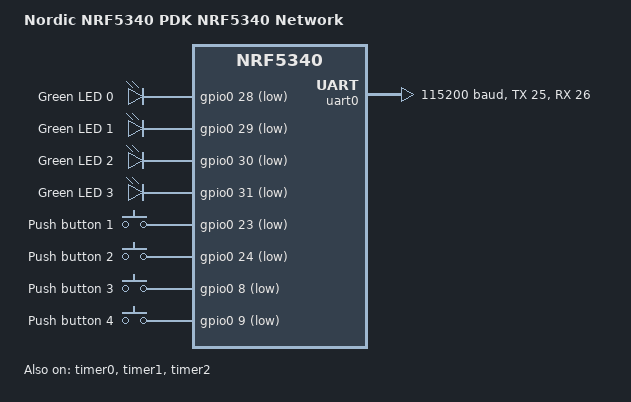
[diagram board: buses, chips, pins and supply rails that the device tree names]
/*
 * Copyright (c) 2019-2020 Nordic Semiconductor ASA
 *
 * SPDX-License-Identifier: Apache-2.0
 */

/dts-v1/;
#include <nordic/nrf5340_cpunet_qkaa.dtsi>

/ {
	model = "Nordic NRF5340 PDK NRF5340 Network";
	compatible = "nordic,nrf5340-pdk-nrf5340-cpunet";

	chosen {
		zephyr,console = &uart0;
		zephyr,shell-uart = &uart0;
		zephyr,uart-mcumgr = &uart0;
		zephyr,bt-mon-uart = &uart0;
		zephyr,bt-c2h-uart = &uart0;
		zephyr,sram = &sram1;
		zephyr,flash = &flash1;
		zephyr,code-partition = &slot0_partition;
	};

	leds {
		compatible = "gpio-leds";
		led0: led_0 {
			gpios = <&gpio0 28 GPIO_ACTIVE_LOW>;
			label = "Green LED 0";
		};
		led1: led_1 {
			gpios = <&gpio0 29 GPIO_ACTIVE_LOW>;
			label = "Green LED 1";
		};
		led2: led_2 {
			gpios = <&gpio0 30 GPIO_ACTIVE_LOW>;
			label = "Green LED 2";
		};
		led3: led_3 {
			gpios = <&gpio0 31 GPIO_ACTIVE_LOW>;
			label = "Green LED 3";
		};
	};

	buttons {
		compatible = "gpio-keys";
		button0: button_0 {
			gpios = <&gpio0 23 (GPIO_PULL_UP | GPIO_ACTIVE_LOW)>;
			label = "Push button 1";
		};
		button1: button_1 {
			gpios = <&gpio0 24 (GPIO_PULL_UP | GPIO_ACTIVE_LOW)>;
			label = "Push button 2";
		};
		button2: button_2 {
			gpios = <&gpio0 8 (GPIO_PULL_UP | GPIO_ACTIVE_LOW)>;
			label = "Push button 3";
		};
		button3: button_3 {
			gpios = <&gpio0 9 (GPIO_PULL_UP | GPIO_ACTIVE_LOW)>;
			label = "Push button 4";
		};
	};

	/* These aliases are provided for compatibility with samples */
	aliases {
		led0 = &led0;
		led1 = &led1;
		led2 = &led2;
		led3 = &led3;
		sw0 = &button0;
		sw1 = &button1;
		sw2 = &button2;
		sw3 = &button3;
	};
};

&gpiote {
	status = "okay";
};

&gpio0 {
	status = "okay";
};

&gpio1 {
	status = "okay";
};

&uart0 {
	status = "okay";
	current-speed = <115200>;
	tx-pin = <25>;
	rx-pin = <26>;
	rts-pin = <10>;
	cts-pin = <12>;
};

&timer0 {
	status = "okay";
};

&timer1 {
	status = "okay";
};

&timer2 {
	status = "okay";
};

&flash1 {
	/*
	 * For more information, see:
	 * https://docs.zephyrproject.org/latest/guides/dts/legacy-macros.html#legacy-flash-partitions
	 */
	partitions {
		compatible = "fixed-partitions";
		#address-cells = <1>;
		#size-cells = <1>;

		boot_partition: partition@0 {
			label = "mcuboot";
			reg = <0x00000000 0xc000>;
		};
		slot0_partition: partition@c000 {
			label = "image-0";
			reg = <0x0000C000 0x12000>;
		};
		slot1_partition: partition@1e000 {
			label = "image-1";
			reg = <0x0001E000 0x12000>;
		};
		scratch_partition: partition@30000 {
			label = "image-scratch";
			reg = <0x00030000 0xa000>;
		};
		storage_partition: partition@3a000 {
			label = "storage";
			reg = <0x0003a000 0x6000>;
		};
	};
};

/* Include shared RAM configuration file */
#include "nrf5340_shared_sram_planning_conf.dts"
